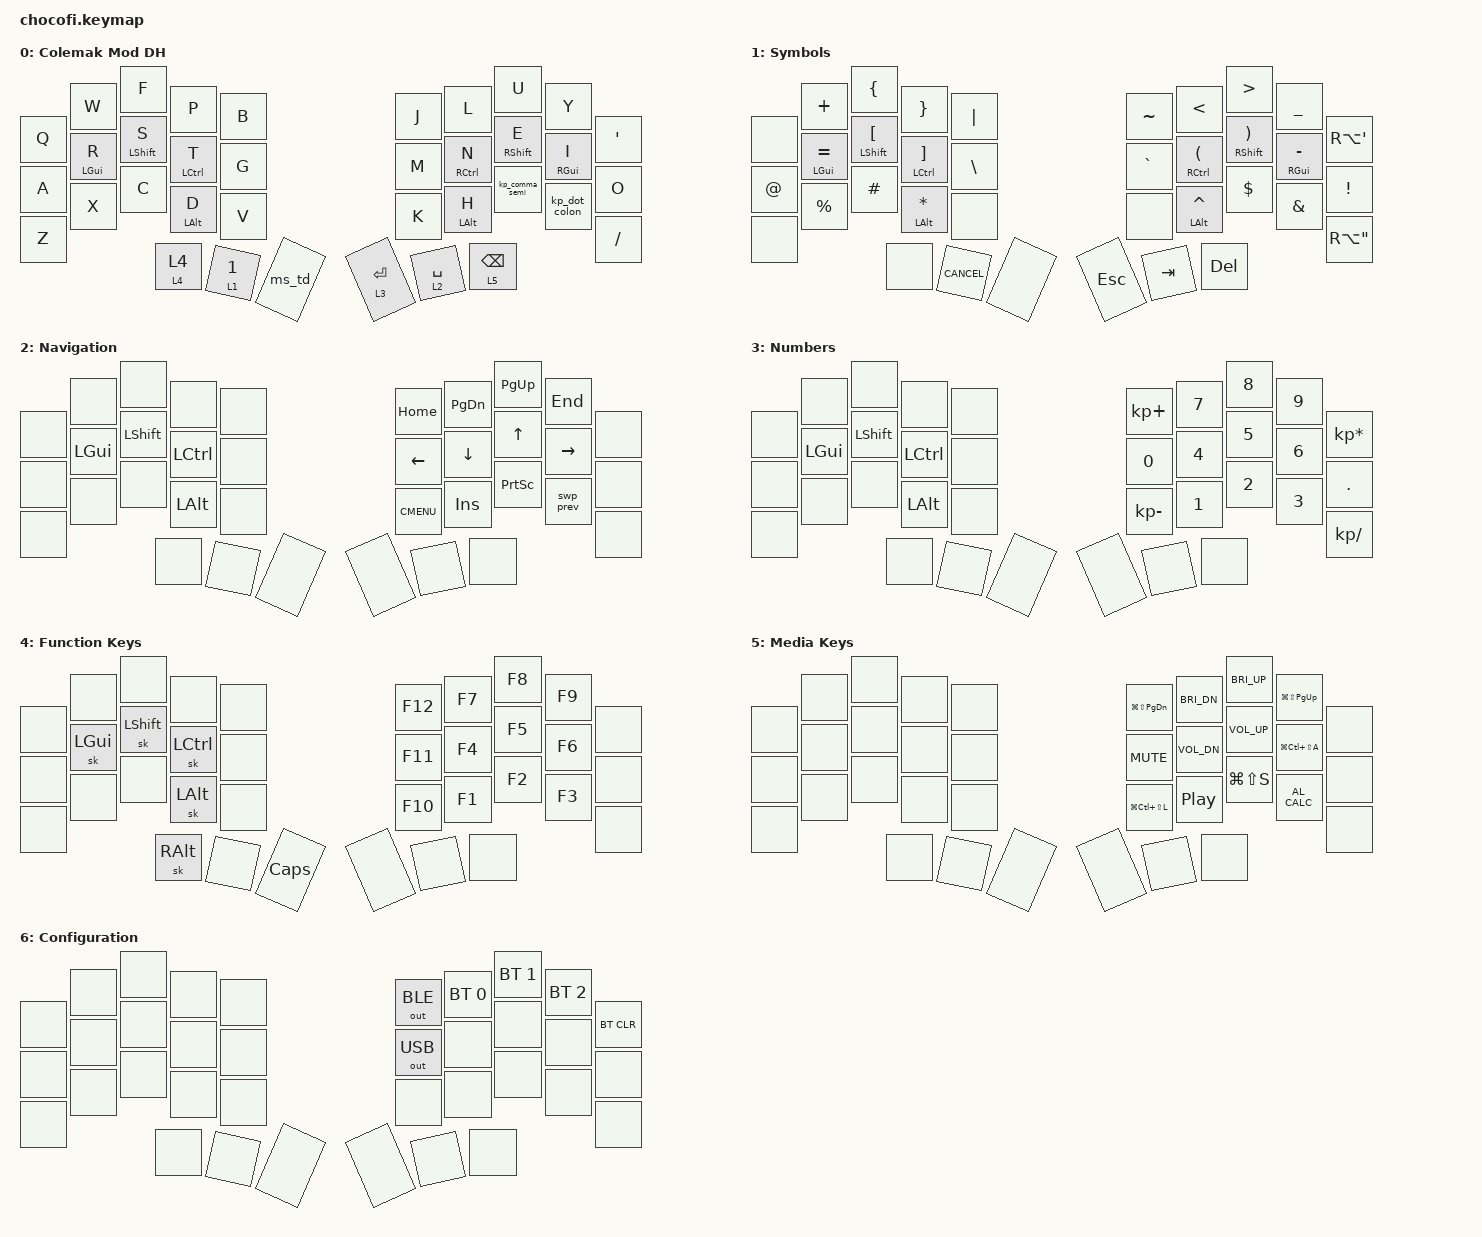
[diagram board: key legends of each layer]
#include <behaviors.dtsi>
#include <dt-bindings/zmk/bt.h>
#include <dt-bindings/zmk/keys.h>
#include <dt-bindings/zmk/outputs.h>

#include <behaviors/rgbled_widget.dtsi>

#define HT_TAPPING_TERM_MS 250
#define QUICK_TAP_MS 200
#define REQUIRE_PRIOR_IDLE_MS 150

&caps_word { continue-list = <UNDERSCORE DOT BACKSPACE DELETE>; };

/ {
    behaviors {

        q_sk: quick_release_sticky_key {
            compatible = "zmk,behavior-sticky-key";
            display-name = "Quick Release Sticky Key";
            #binding-cells = <1>;
            bindings = <&kp>;

            release-after-ms = <1000>;
            quick-release;
            ignore-modifiers;
        };

        n_sl: normal_release_sticky_layer {
            compatible = "zmk,behavior-sticky-key";
            display-name = "Normal Release Sticky Layer";
            #binding-cells = <1>;
            bindings = <&mo>;

            release-after-ms = <1000>;
        };

        swp_prev: window_swapper_previous {
            compatible = "zmk,behavior-tri-state";
            display-name = "Window Swapper Previous";
            #binding-cells = <0>;
            bindings = <&kt LALT>, <&kp TAB>, <&kt LALT>;
            ignored-key-positions = <15 16 17 18>;
        };

        ms_td: magic_shift_tap_dance {
            compatible = "zmk,behavior-tap-dance";
            #binding-cells = <0>;
            tapping-term-ms = <250>;
            bindings = <&q_sk LSHFT>, <&caps_word>;
        };

        kp_dot_colon: kp_dot_colon_morph {
            compatible = "zmk,behavior-mod-morph";
            display-name = "Dot/Colon Morph";
            #binding-cells = <0>;
            bindings = <&kp DOT>, <&kp COLON>;
            mods = <(MOD_LSFT|MOD_RSFT)>;
        };

        kp_comma_semi: kp_comma_semicolon_morph {
            compatible = "zmk,behavior-mod-morph";
            display-name = "Comma/Semicolon Morph";
            #binding-cells = <0>;
            bindings = <&kp COMMA>, <&kp SEMI>;
            mods = <(MOD_LSFT|MOD_RSFT)>;
        };

        lhm_ht: left_homerow_mod_hold_tap {
            compatible = "zmk,behavior-hold-tap";
            display-name = "Left Homerow Mod Hold/Tap";
            #binding-cells = <2>;
            bindings = <&kp>, <&kp>;

            flavor = "balanced";
            tapping-term-ms = <HT_TAPPING_TERM_MS>;
            quick-tap-ms = <QUICK_TAP_MS>;
            require-prior-idle-ms = <REQUIRE_PRIOR_IDLE_MS>;
            hold-trigger-key-positions = <5 6 7 8 9 15 16 17 18 19 25 26 27 28 29 33 34 35>;
            hold-trigger-on-release;
        };

        rhm_ht: right_homerow_mod_hold_tap {
            compatible = "zmk,behavior-hold-tap";
            display-name = "Right Homerow Mod Hold/Tap";
            #binding-cells = <2>;
            bindings = <&kp>, <&kp>;

            flavor = "balanced";
            tapping-term-ms = <HT_TAPPING_TERM_MS>;
            quick-tap-ms = <QUICK_TAP_MS>;
            require-prior-idle-ms = <REQUIRE_PRIOR_IDLE_MS>;
            hold-trigger-key-positions = <0 1 2 3 4 10 11 12 13 14 20 21 22 23 24 30 31 32>;
            hold-trigger-on-release;
        };

        lk_ht: layer_key_hold_tap {
            compatible = "zmk,behavior-hold-tap";
            display-name = "Layer/Key Hold/Tap";
            #binding-cells = <2>;
            bindings = <&mo>, <&kp>;

            flavor = "balanced";
            tapping-term-ms = <HT_TAPPING_TERM_MS>;
            quick-tap-ms = <QUICK_TAP_MS>;
        };

        lsln_ht: layer_sticky_layer_normal_release_hold_tap {
            compatible = "zmk,behavior-hold-tap";
            display-name = "Layer/Sticky Layer Normal Release Hold/Tap";
            #binding-cells = <2>;
            bindings = <&mo>, <&n_sl>;

            flavor = "balanced";
            tapping-term-ms = <HT_TAPPING_TERM_MS>;
        };

        lsl_ht: layer_sticky_layer_quick_release_hold_tap {
            compatible = "zmk,behavior-hold-tap";
            display-name = "Layer/Sticky Layer Quick Release Hold/Tap";
            #binding-cells = <2>;
            bindings = <&mo>, <&sl>;

            flavor = "balanced";
            tapping-term-ms = <HT_TAPPING_TERM_MS>;
        };
    };

    combos {
        compatible = "zmk,combos";

        combo_esc {
            bindings = <&kp ESC>;
            key-positions = <0 1>;
            layers = <0>;
        };

        combo_bspace {
            bindings = <&kp BSPC>;
            key-positions = <1 2>;
            layers = <0>;
        };

        combo_del {
            bindings = <&kp DEL>;
            key-positions = <2 3>;
            layers = <0>;
        };

        combo_ret {
            bindings = <&kp RET>;
            key-positions = <3 4>;
            layers = <0>;
        };

        combo_space {
            bindings = <&kp SPACE>;
            key-positions = <10 11>;
            layers = <0>;
        };

        combo_tab {
            bindings = <&kp TAB>;
            key-positions = <13 14>;
            layers = <0>;
        };

        combo_conf_layer {
            bindings = <&sl 6>;
            key-positions = <6 7 8>;
            layers = <0>;
        };

        combo_rgbled_widget_bat {
            bindings = <&ind_bat>;
            key-positions = <16 17 18>;
            layers = <0>;
        };

        combo_rgbled_widget_con {
            bindings = <&ind_con>;
            key-positions = <26 27 28>;
            layers = <0>;
        };
    };

    keymap {
        compatible = "zmk,keymap";

        // layer 0
        default_layer {
            display-name = "Colemak Mod DH";
            bindings = <
&kp Q  &kp          W  &kp           F  &kp           P  &kp   B        &kp        J  &kp           L  &kp           U  &kp          Y  &kp  SQT
&kp A  &lhm_ht LGUI R  &lhm_ht LSHFT S  &lhm_ht LCTRL T  &kp   G        &kp        M  &rhm_ht RCTRL N  &rhm_ht RSHFT E  &rhm_ht RGUI I  &kp    O
&kp Z  &kp          X  &kp           C  &lhm_ht LALT  D  &kp   V        &kp        K  &rhm_ht LALT  H  &kp_comma_semi   &kp_dot_colon   &kp FSLH
                       &lsl_ht     4 4  &lsln_ht    1 1  &ms_td         &lk_ht 3 RET  &lk_ht  2 SPACE  &lk_ht   5 BSPC
            >;
        };

        // layer 1
        symbols {
            display-name = "Symbols";
            bindings = <
&none   &kp          PLUS   &kp           LBRC  &kp           RBRC  &kp PIPE        &kp TILDE  &kp           LT     &kp           GT    &kp          UNDER  &kp RA(SQT)
&kp AT  &lhm_ht LGUI EQUAL  &lhm_ht LSHFT LBKT  &lhm_ht LCTRL RBKT  &kp BSLH        &kp GRAVE  &rhm_ht RCTRL LPAR   &rhm_ht RSHFT RPAR  &rhm_ht RGUI MINUS  &kp EXCL
&none   &kp          PRCNT  &kp           HASH  &lhm_ht LALT  STAR  &none           &none      &rhm_ht LALT  CARET  &kp           DLLR  &kp          AMPS   &kp RA(DQT)
                            &none               &kp       K_CANCEL  &none           &kp ESC    &kp           TAB    &kp           DEL
            >;
        };

        // layer 2
        navigation {
            display-name = "Navigation";
            bindings = <
&none  &none     &none      &none      &none        &kp HOME     &kp PG_DN  &kp PG_UP  &kp END    &none
&none  &kp LGUI  &kp LSHFT  &kp LCTRL  &none        &kp LEFT     &kp DOWN   &kp UP     &kp RIGHT  &none
&none  &none     &none      &kp LALT   &none        &kp K_CMENU  &kp INS    &kp PSCRN  &swp_prev  &none
                 &none      &none      &none        &none        &none      &none
            >;
        };

        // layer 3
        numbers {
            display-name = "Numbers";
            bindings = <
&none  &none     &none      &none      &none        &kp KP_PLUS   &kp N7  &kp N8  &kp N9  &kp KP_MULTIPLY
&none  &kp LGUI  &kp LSHFT  &kp LCTRL  &none        &kp N0        &kp N4  &kp N5  &kp N6  &kp DOT
&none  &none     &none      &kp LALT   &none        &kp KP_MINUS  &kp N1  &kp N2  &kp N3  &kp KP_DIVIDE
                 &none      &none      &none        &none         &none   &none
            >;
        };

        // layer 4
        function {
            display-name = "Function Keys";
            bindings = <
&none  &none     &none      &none      &none           &kp F12   &kp F7  &kp F8  &kp F9  &none
&none  &sk LGUI  &sk LSHFT  &sk LCTRL  &none           &kp F11   &kp F4  &kp F5  &kp F6  &none
&none  &none     &none      &sk LALT   &none           &kp F10   &kp F1  &kp F2  &kp F3  &none
                 &sk RALT   &none      &kp CAPS        &none     &none   &none
            >;
        };

        // layer 5
        media {
            display-name = "Media Keys";
            bindings = <
&none  &none  &none  &none  &none        &kp LG(LS(PG_DN))  &kp C_BRI_DN      &kp C_BRI_UP  &kp LG(LS(PG_UP))  &none
&none  &none  &none  &none  &none        &kp C_MUTE         &kp C_VOL_DN      &kp C_VOL_UP  &kp LG(LC(LS(A)))  &none
&none  &none  &none  &none  &none        &kp LG(LC(LS(L)))  &kp C_PLAY_PAUSE  &kp LG(LS(S)) &kp C_AL_CALC      &none
              &none  &none  &none        &none              &none             &none
            >;
        };

        // layer 6
        config {
            display-name = "Configuration";
            bindings = <
&none  &none  &none  &none  &none        &out OUT_BLE  &bt BT_SEL 0  &bt BT_SEL 1  &bt BT_SEL 2  &bt BT_CLR
&none  &none  &none  &none  &none        &out OUT_USB  &none         &none         &none         &none
&none  &none  &none  &none  &none        &none         &none         &none         &none         &none
              &none  &none  &none        &none         &none         &none
            >;
        };
    };
};
